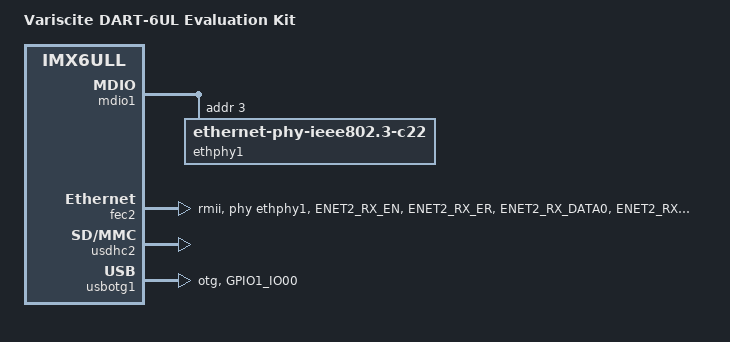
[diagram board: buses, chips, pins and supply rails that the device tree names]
// SPDX-License-Identifier: GPL-2.0+
/*
 * Copyright (C) 2019 Parthiban Nallathambi <parthitce@gmail.com>
 * Copyright (C) 2021 Marc Ferland, Amotus Solutions Inc., <ferlandm@amotus.ca>
 */

/dts-v1/;

#include "imx6ull.dtsi"
#include "imx6ull-dart-6ul.dtsi"

/ {
	model = "Variscite DART-6UL Evaluation Kit";
	compatible = "variscite,imx6ull-dart-6ul", "fsl,imx6ull";
};

&mdio1 {
	/* KSZ8081RNB (carrier-board) */
	ethphy1: ethernet-phy@3 {
		compatible = "ethernet-phy-ieee802.3-c22";
		clocks = <&clks IMX6UL_CLK_ENET2_REF>;
		clock-names = "rmii-ref";
		micrel,led-mode = <1>;
		max-speed = <100>;
		reg = <3>;
	};
};

&fec2 {
	pinctrl-names = "default";
	pinctrl-0 = <&pinctrl_enet2 &pinctrl_enet2_rst>;
	phy-mode = "rmii";
	phy-handle = <&ethphy1>;
	phy-reset-gpios = <&gpio1 10 GPIO_ACTIVE_LOW>;
	phy-reset-duration = <100>;
	status = "okay";
};

&usdhc2 {
	status = "okay";
};

&usbotg1 {
	pinctrl-names = "default";
	pinctrl-0 = <&pinctrl_usb_otg1_id>;
	dr_mode = "otg";
	srp-disable;
	hnp-disable;
	adp-disable;
	status = "okay";
};

&iomuxc {
	pinctrl-names = "default";

	pinctrl_usb_otg1_id: usbotg1idgrp {
		fsl,pins = <
			MX6UL_PAD_GPIO1_IO00__ANATOP_OTG1_ID    0x17059
		>;
	};

	pinctrl_enet2: enet2grp {
		fsl,pins = <
			MX6UL_PAD_ENET2_RX_EN__ENET2_RX_EN	0x1b0b0
			MX6UL_PAD_ENET2_RX_ER__ENET2_RX_ER	0x1b0b0
			MX6UL_PAD_ENET2_RX_DATA0__ENET2_RDATA00	0x1b0b0
			MX6UL_PAD_ENET2_RX_DATA1__ENET2_RDATA01	0x1b0b0
			MX6UL_PAD_ENET2_TX_EN__ENET2_TX_EN	0x1b0b0
			MX6UL_PAD_ENET2_TX_DATA0__ENET2_TDATA00	0x1b0b0
			MX6UL_PAD_ENET2_TX_DATA1__ENET2_TDATA01	0x1b0b0
			MX6UL_PAD_ENET2_TX_CLK__ENET2_REF_CLK2	0x4001b031
		>;
	};

	pinctrl_enet2_mdio: mdio_enet2_grp {
		fsl,pins = <
			MX6UL_PAD_GPIO1_IO07__ENET2_MDC		0x1b0b0
			MX6UL_PAD_GPIO1_IO06__ENET2_MDIO	0x1b0b0
		>;
	};

	pinctrl_enet2_rst: enet2-rst-grp {
		fsl,pins = <
			MX6UL_PAD_JTAG_MOD__GPIO1_IO10		0x1b0b0
		>;
	};
};
